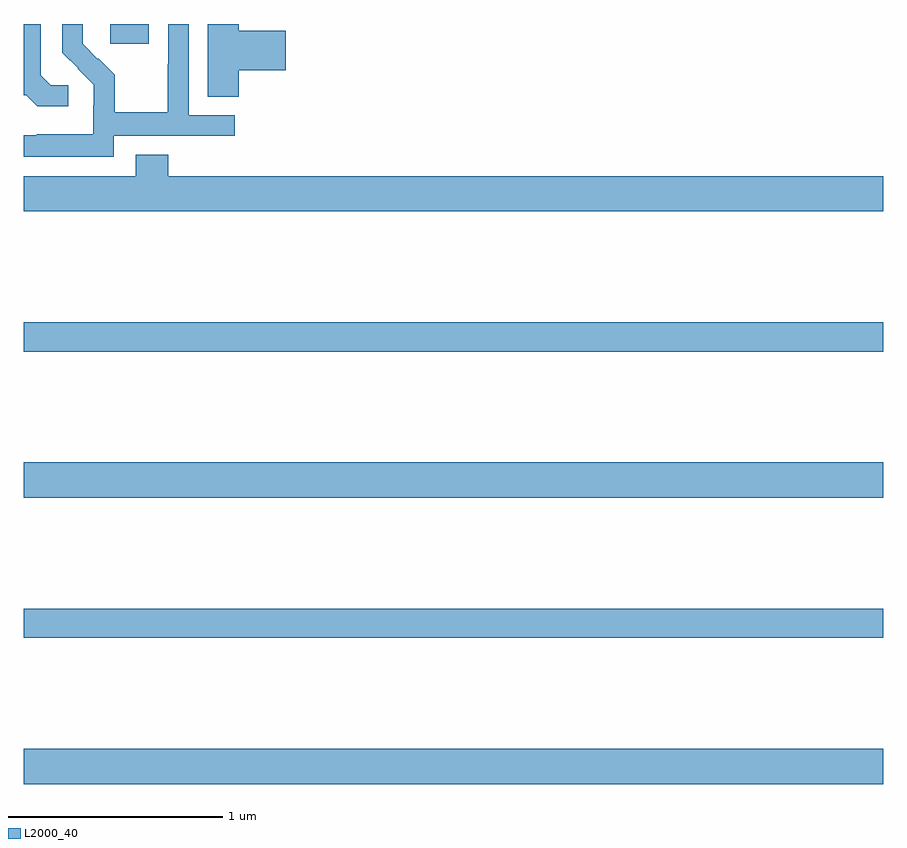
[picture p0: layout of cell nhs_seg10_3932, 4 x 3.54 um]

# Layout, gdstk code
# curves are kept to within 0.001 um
import gdstk
lib = gdstk.Library(unit=1e-6, precision=1e-09)
def R(c, l, rs):  # rectangles x0, y0, x1, y1
    for r in rs: c.add(gdstk.rectangle(r[:2], r[2:], *l))
def P(c, l, *ps):  # polygons
    for p in ps: c.add(gdstk.Polygon(p, *l))
L2000_40 = (2000, 40)

nhs_seg10_3932 = lib.new_cell('nhs_seg10_3932')
R(nhs_seg10_3932, L2000_40, [(327,1318.964,331,1319.128), (327,1319.644,331,1319.78), (327,1320.296,331,1320.46), (327,1320.976,331,1321.112), (327.404,1322.409,327.583,1322.5)])
P(nhs_seg10_3932, L2000_40, [(327.42,1321.98),(327.982,1321.98),(327.982,1322.076),(327.768,1322.076),(327.768,1322.5),(327.672,1322.5),(327.672,1322.312),(327.67,1322.312),(327.67,1322.089),(327.425,1322.089),(327.425,1322.263),(327.348,1322.34),(327.345,1322.337),(327.275,1322.408),(327.275,1322.5),(327.18,1322.5),(327.18,1322.366),(327.326,1322.218),(327.326,1322.121),(327.324,1322.121),(327.324,1321.987),(327.061,1321.987),(327.061,1321.983),(327,1321.983),(327,1321.883),(327.42,1321.883)],
  [(327.208,1322.214),(327.126,1322.214),(327.079,1322.261),(327.079,1322.5),(327,1322.5),(327,1322.169),(327.012,1322.169),(327.064,1322.117),(327.208,1322.117)],
  [(328.001,1322.285),(328.219,1322.285),(328.219,1322.468),(328.001,1322.468),(328.001,1322.5),(327.857,1322.5),(327.857,1322.161),(328.001,1322.161)],
  [(331,1321.792),(327.674,1321.792),(327.674,1321.891),(327.521,1321.891),(327.521,1321.792),(327,1321.792),(327,1321.628),(331,1321.628)])

lib.write_gds('nhs_seg10_3932.gds')
